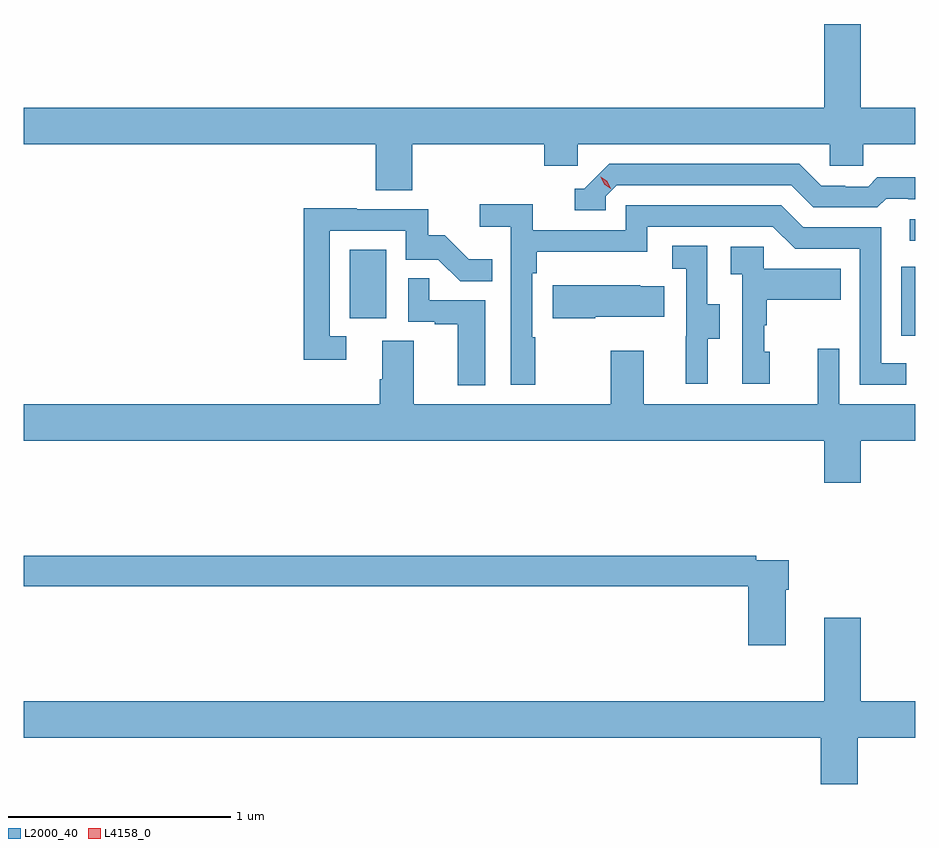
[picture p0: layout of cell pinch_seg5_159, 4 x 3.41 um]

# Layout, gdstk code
import gdstk
lib = gdstk.Library(unit=1e-6, precision=1e-09)
def R(c, l, rs):  # rectangles x0, y0, x1, y1
    for r in rs: c.add(gdstk.rectangle(r[:2], r[2:], *l))
def P(c, l, *ps):  # polygons
    for p in ps: c.add(gdstk.Polygon(p, *l))
L2000_40 = (2000, 40)
L4158_0 = (4158, 0)

pinch_seg5_159 = lib.new_cell('pinch_seg5_159')
R(pinch_seg5_159, L2000_40, [(1100.418,883.872,1100.48,884.182), (1097.942,883.95,1098.106,884.257), (1100.457,884.298,1100.48,884.394)])
P(pinch_seg5_159, L2000_40, [(1098.224,884.732),(1098.815,884.732),(1098.815,884.634),(1098.966,884.634),(1098.966,884.732),(1100.097,884.732),(1100.097,884.634),(1100.247,884.634),(1100.247,884.732),(1100.48,884.732),(1100.48,884.896),(1100.236,884.896),(1100.236,885.271),(1100.072,885.271),(1100.072,884.896),(1096.48,884.896),(1096.48,884.732),(1098.059,884.732),(1098.059,884.524),(1098.224,884.524)],
  [(1099.092,884.499),(1099.14,884.547),(1099.923,884.547),(1100.022,884.448),(1100.311,884.448),(1100.35,884.487),(1100.449,884.487),(1100.449,884.484),(1100.48,884.484),(1100.48,884.584),(1100.311,884.584),(1100.269,884.541),(1100.166,884.541),(1100.166,884.544),(1100.059,884.544),(1099.96,884.643),(1099.107,884.643),(1098.996,884.532),(1098.953,884.532),(1098.953,884.436),(1099.092,884.436)],
  [(1098.775,883.865),(1098.762,883.865),(1098.762,884.153),(1098.782,884.153),(1098.782,884.249),(1099.278,884.249),(1099.278,884.361),(1099.842,884.361),(1099.941,884.262),(1100.232,884.262),(1100.232,883.653),(1100.441,883.653),(1100.441,883.749),(1100.328,883.749),(1100.328,884.358),(1099.978,884.358),(1099.879,884.457),(1099.182,884.457),(1099.182,884.346),(1098.764,884.346),(1098.764,884.462),(1098.525,884.462),(1098.525,884.36),(1098.666,884.36),(1098.666,883.653),(1098.775,883.653)],
  [(1097.926,883.869),(1097.853,883.869),(1097.853,884.343),(1098.195,884.343),(1098.195,884.214),(1098.34,884.214),(1098.438,884.116),(1098.581,884.116),(1098.581,884.215),(1098.477,884.215),(1098.37,884.322),(1098.294,884.322),(1098.294,884.439),(1097.975,884.439),(1097.975,884.444),(1097.737,884.444),(1097.737,883.764),(1097.926,883.764)],
  [(1099.549,883.858),(1099.603,883.858),(1099.603,884.013),(1099.548,884.013),(1099.548,884.276),(1099.389,884.276),(1099.389,884.173),(1099.452,884.173),(1099.452,883.869),(1099.451,883.869),(1099.451,883.656),(1099.549,883.656)],
  [(1099.828,883.8),(1099.803,883.8),(1099.803,883.919),(1099.813,883.919),(1099.813,884.033),(1100.147,884.033),(1100.147,884.173),(1099.8,884.173),(1099.8,884.271),(1099.653,884.271),(1099.653,884.147),(1099.704,884.147),(1099.704,883.656),(1099.828,883.656)],
  [(1098.55,884.031),(1098.299,884.031),(1098.299,884.129),(1098.204,884.129),(1098.204,883.935),(1098.325,883.935),(1098.325,883.923),(1098.428,883.923),(1098.428,883.649),(1098.55,883.649)],
  [(1099.045,883.958),(1099.355,883.958),(1099.355,884.095),(1099.247,884.095),(1099.247,884.098),(1098.854,884.098),(1098.854,883.951),(1099.045,883.951)],
  [(1100.236,883.4),(1100.48,883.4),(1100.48,883.564),(1100.139,883.564),(1100.139,883.813),(1100.042,883.813),(1100.042,883.564),(1099.261,883.564),(1099.261,883.804),(1099.114,883.804),(1099.114,883.564),(1098.229,883.564),(1098.229,883.85),(1098.089,883.85),(1098.089,883.676),(1098.077,883.676),(1098.077,883.564),(1096.48,883.564),(1096.48,883.4),(1100.072,883.4),(1100.072,883.212),(1100.236,883.212)],
  [(1099.9,882.731),(1099.913,882.731),(1099.913,882.864),(1099.766,882.864),(1099.766,882.884),(1096.48,882.884),(1096.48,882.748),(1099.73,882.748),(1099.73,882.483),(1099.9,882.483)],
  [(1100.222,882.068),(1100.48,882.068),(1100.48,882.232),(1100.236,882.232),(1100.236,882.607),(1100.072,882.607),(1100.072,882.232),(1096.48,882.232),(1096.48,882.068),(1100.057,882.068),(1100.057,881.86),(1100.222,881.86)])
P(pinch_seg5_159, L4158_0, [(1099.115,884.532),(1099.084,884.552),(1099.068,884.584),(1099.068,884.585),(1099.069,884.585),(1099.099,884.565),(1099.115,884.533),(1099.115,884.532)])

lib.write_gds('pinch_seg5_159.gds')
